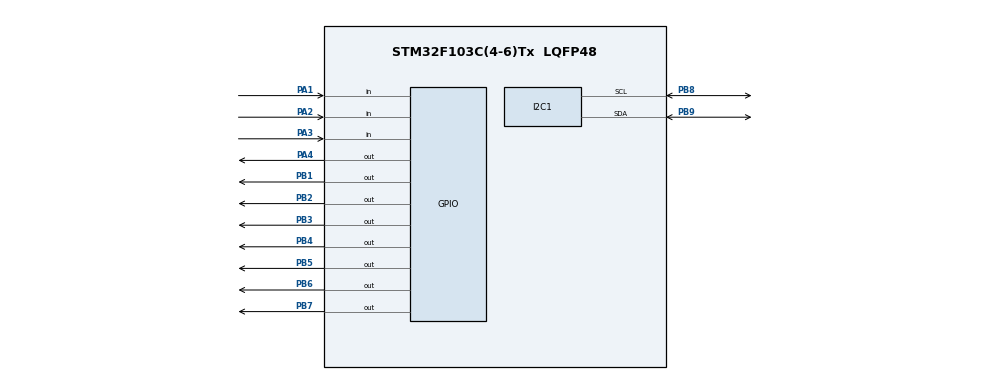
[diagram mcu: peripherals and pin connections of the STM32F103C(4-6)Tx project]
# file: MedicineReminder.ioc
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Mcu.Family=STM32F1
PD1-OSC_OUT.Mode=HSE-External-Oscillator
VP_RTC_VS_RTC_Activate.Mode=RTC_Enabled
PD0-OSC_IN.Signal=RCC_OSC_IN
VP_SYS_VS_ND.Mode=No_Debug
ProjectManager.StackSize=0x400
PD1-OSC_OUT.Signal=RCC_OSC_OUT
ProjectManager.TargetToolchain=STM32CubeIDE
PB9.Mode=I2C
PB6.Signal=GPIO_Output
PA1.Signal=GPIO_Input
PD0-OSC_IN.Mode=HSE-External-Oscillator
PB2.Signal=GPIO_Output
board=custom
RCC.APB2Freq_Value=8000000
PB7.Signal=GPIO_Output
Mcu.Name=STM32F103C(4-6)Tx
PA2.Signal=GPIO_Input
PB3.Signal=GPIO_Output
PA4.Signal=GPIO_Output
Mcu.Package=LQFP48
PB5.Signal=GPIO_Output
PB9.Signal=I2C1_SDA
PB1.Signal=GPIO_Output
VP_RTC_VS_RTC_Calendar.Mode=RTC_Calendar
ProjectManager.HeapSize=0x200
NVIC.PriorityGroup=NVIC_PRIORITYGROUP_4
PB8.Mode=I2C
PB8.Signal=I2C1_SCL
RCC.APB1Freq_Value=8000000
PB4.Signal=GPIO_Output
PA3.Signal=GPIO_Input

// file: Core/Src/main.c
/* USER CODE BEGIN Header */
/**
  ******************************************************************************
  * @file           : main.c
  * @brief          : Main program body
  ******************************************************************************
  * @attention
  *
  * <h2><center>&copy; Copyright (c) 2022 STMicroelectronics.
  * All rights reserved.</center></h2>
  *
  * This software component is licensed by ST under BSD 3-Clause license,
  * the "License"; You may not use this file except in compliance with the
  * License. You may obtain a copy of the License at:
  *                        opensource.org/licenses/BSD-3-Clause
  *
  ******************************************************************************
  */
/* USER CODE END Header */

#include "main.h"
#include "lcd.h"
#include "stm32f1xx_hal.h"

#define ALARM_LED GPIO_PIN_4

#define NEXT GPIO_PIN_3
#define INC GPIO_PIN_2
#define SET_MAD GPIO_PIN_1

#define MAX_REMINDERS 10

I2C_HandleTypeDef hi2c1;

RTC_HandleTypeDef hrtc;

void SystemClock_Config(void);
static void MX_GPIO_Init(void);
static void MX_I2C1_Init(void);
static void MX_RTC_Init(void);

/* USER CODE BEGIN 0 */
typedef struct alarm_time
{
	uint8_t Hour;
	uint8_t Min;
} AlarmTime;

char time[10];
char date[10];

int row = 0;
int col = 0;

AlarmTime currentTime;

//inicijalizacija datuma i vremena
void set_time (void)
{
	  RTC_TimeTypeDef sTime;
	  RTC_DateTypeDef sDate;
    /**Initialize RTC and set the Time and Date
    */
  sTime.Hours = 0x17;
  sTime.Minutes = 0x48;
  sTime.Seconds = 0x00;

  if (HAL_RTC_SetTime(&hrtc, &sTime, RTC_FORMAT_BCD) != HAL_OK)
  {
	  Error_Handler();
  }

  sDate.WeekDay = RTC_WEEKDAY_SUNDAY;
  sDate.Month = RTC_MONTH_FEBRUARY;
  sDate.Date = 0x13;
  sDate.Year = 0x22;

  if (HAL_RTC_SetDate(&hrtc, &sDate, RTC_FORMAT_BCD) != HAL_OK)
  {
	  Error_Handler();
  }

  HAL_RTCEx_BKUPWrite(&hrtc, RTC_BKP_DR1, 0x32F2);  // backup register
}

//funkcija za kreiranje stringova za vreme i datum, koji se prikazuju na lcd-u
void get_time(void)
{
  RTC_DateTypeDef gDate;
  RTC_TimeTypeDef gTime;

  /* Get the RTC current Time */
  HAL_RTC_GetTime(&hrtc, &gTime, RTC_FORMAT_BIN);
  /* Get the RTC current Date */
  HAL_RTC_GetDate(&hrtc, &gDate, RTC_FORMAT_BIN);

  currentTime.Hour = gTime.Hours;
  currentTime.Min = gTime.Minutes;
  /* Display time Format: hh:mm:ss */
  sprintf((char*)time,"%02d:%02d:%02d",gTime.Hours, gTime.Minutes, gTime.Seconds);

  /* Display date Format: mm-dd-yy */
  sprintf((char*)date,"%02d-%02d-%2d",gDate.Date, gDate.Month, 2000 + gDate.Year);
}

//funkcija za prikaz vremena na lcd-u
void display_time (Lcd_HandleTypeDef *lcd)
{
	Lcd_send_command (lcd, 0x80);
	Lcd_string (lcd, "TIME: ");
	Lcd_string (lcd, time);
	Lcd_send_command (lcd, 0xc0);
	Lcd_string (lcd, "DATE: ");
	Lcd_string (lcd, date);
}

//funkcija za treperenje led diode prilikom aktivacije alarma
void beep(void)
{
	HAL_GPIO_WritePin(GPIOA, ALARM_LED, GPIO_PIN_RESET);
	HAL_Delay(200);
	HAL_GPIO_WritePin(GPIOA, ALARM_LED, GPIO_PIN_SET);
	HAL_Delay(100);
	HAL_GPIO_WritePin(GPIOA, ALARM_LED, GPIO_PIN_RESET);
	HAL_Delay(200);
	HAL_GPIO_WritePin(GPIOA, ALARM_LED, GPIO_PIN_SET);
	HAL_Delay(100);
}
/* USER CODE END 0 */

int main(void)
{
  /* USER CODE BEGIN 1 */
	AlarmTime medicineReminders[MAX_REMINDERS];
	int medicineRemindersCount = 0;
	int i;

	char reminderName[30];
	char reminderTime[30];
	AlarmTime tempTime;

	int hourIndicator = 1;
	int minIndicator = -1;
  /* USER CODE END 1 */

  /* MCU Configuration--------------------------------------------------------*/

  /* Reset of all peripherals, Initializes the Flash interface and the Systick. */
  HAL_Init();

  /* Configure the system clock */
  SystemClock_Config();

  /* Initialize all configured peripherals */
  MX_GPIO_Init();
  MX_I2C1_Init();
  MX_RTC_Init();
  /* USER CODE BEGIN 2 */
  Lcd_PortType ports[] = {
  	  GPIOB, GPIOB, GPIOB, GPIOB
  };

  Lcd_PinType pins[] = {
  	  GPIO_PIN_4, GPIO_PIN_5, GPIO_PIN_6, GPIO_PIN_7
  };

  Lcd_HandleTypeDef lcd = Lcd_create(ports, pins, GPIOB, GPIO_PIN_1, GPIOB, GPIO_PIN_3, LCD_4_BIT_MODE);

  if(HAL_RTCEx_BKUPRead(&hrtc, RTC_BKP_DR1) != 0x32F2)
  {
	//inicijalizacija vremena i datuma
	set_time();
  }

  HAL_GPIO_WritePin(GPIOA, ALARM_LED, GPIO_PIN_SET);

  /* USER CODE END 2 */

  /* Infinite loop */
  /* USER CODE BEGIN WHILE */
  while (1)
  {
	  /* USER CODE BEGIN 3 */
	  //ucitaj trenutno vreme i datum
	  get_time();
	  //prikazi trenutno vreme i datum
	  display_time(&lcd);

	  //provera da li postoji neki alarm u ovo vreme
	  for(i=0; i<medicineRemindersCount; i++){
		  if(medicineReminders[i].Hour == currentTime.Hour
			&& medicineReminders[i].Min == currentTime.Min){
			  Lcd_clear(&lcd);

			  Lcd_send_command(&lcd, 0x80);
			  sprintf((char*)reminderName,"TAKE MEDICINE %02d", i + 1);
			  Lcd_string(&lcd, reminderName);

			  Lcd_send_command(&lcd, 0xc0);
			  sprintf((char*)reminderTime,"ALARM TIME: %02d:%02d", medicineReminders[i].Hour,
					  medicineReminders[i].Min);
			  Lcd_string(&lcd, reminderTime);

			  beep();
			  beep();
			  beep();
		  }
	  }
	  HAL_Delay(300);

	  //provera da li je pritisnuto dugme za podesavanje alarma
	  if(HAL_GPIO_ReadPin(GPIOA, SET_MAD) == 0){
		  while(HAL_GPIO_ReadPin(GPIOA, SET_MAD) == 0);

		  tempTime.Hour = 0x00;
		  tempTime.Min = 0x00;
		  i = 0;

		  Lcd_clear(&lcd);
		  int ind = 0;
		  //dok god ne pritisnemo opet dugme da potvrdimo unete alarme ili dok nije dostignut max broj alarma
		  //podesavamo alarme
		  while(HAL_GPIO_ReadPin(GPIOA, SET_MAD) != 0 && i < MAX_REMINDERS-1) {
			  ind = 1;
			  Lcd_send_command(&lcd, 0x80);
			  sprintf((char*)reminderName,"REMINDER %02d", i + 1);
			  Lcd_string(&lcd, reminderName);

			  Lcd_send_command(&lcd, 0xc0);
			  sprintf((char*)reminderTime,"%02d:%02d", tempTime.Hour, tempTime.Min);
			  Lcd_string(&lcd, reminderTime);

			  //uvecanje sata ili minuta za +1
			  if(HAL_GPIO_ReadPin(GPIOA, INC) == 0){
				  while(HAL_GPIO_ReadPin(GPIOA, INC) == 0);
				  if(hourIndicator == 1){
					  tempTime.Hour++;
					  if(tempTime.Hour == 0x18){
						  tempTime.Hour = 0x00;
					  }
				  }
				  else {
					  tempTime.Min++;
					  if(tempTime.Min == 0x3C){
						  tempTime.Min = 0x00;
					  }
				  }
			  }

			  //prelazak na minute ili na sledeci alarm
			  if(HAL_GPIO_ReadPin(GPIOA, NEXT) == 0){
				  while(HAL_GPIO_ReadPin(GPIOA, NEXT) == 0);
				  hourIndicator = -1 * hourIndicator;
				  minIndicator = -1 * minIndicator;

				  if(hourIndicator == 1){
					 medicineReminders[i].Hour = tempTime.Hour;
					 medicineReminders[i].Min = tempTime.Min;

					 tempTime.Hour = 0x00;
					 tempTime.Min = 0x00;

					 ++i;
				  }
			  }
		  }

		  if(ind && i < MAX_REMINDERS-1){
			  medicineReminders[i].Hour = tempTime.Hour;
			  medicineReminders[i].Min = tempTime.Min;
			  ++i;
		  }

		  //kada zavrsimo sa unosom, broj unetih cuvamo
		  medicineRemindersCount = i;
		  Lcd_clear(&lcd);
	  }

    /* USER CODE END 3 */
  }
}
    /* USER CODE END WHILE */

void SystemClock_Config(void)
{
  RCC_OscInitTypeDef RCC_OscInitStruct = {0};
  RCC_ClkInitTypeDef RCC_ClkInitStruct = {0};
  RCC_PeriphCLKInitTypeDef PeriphClkInit = {0};

  /** Initializes the CPU, AHB and APB busses clocks
  */
  RCC_OscInitStruct.OscillatorType = RCC_OSCILLATORTYPE_HSI|RCC_OSCILLATORTYPE_LSI;
  RCC_OscInitStruct.HSIState = RCC_HSI_ON;
  RCC_OscInitStruct.HSICalibrationValue = RCC_HSICALIBRATION_DEFAULT;
  RCC_OscInitStruct.LSIState = RCC_LSI_ON;
  RCC_OscInitStruct.PLL.PLLState = RCC_PLL_NONE;
  if (HAL_RCC_OscConfig(&RCC_OscInitStruct) != HAL_OK)
  {
    Error_Handler();
  }
  /** Initializes the CPU, AHB and APB busses clocks
  */
  RCC_ClkInitStruct.ClockType = RCC_CLOCKTYPE_HCLK|RCC_CLOCKTYPE_SYSCLK
                              |RCC_CLOCKTYPE_PCLK1|RCC_CLOCKTYPE_PCLK2;
  RCC_ClkInitStruct.SYSCLKSource = RCC_SYSCLKSOURCE_HSI;
  RCC_ClkInitStruct.AHBCLKDivider = RCC_SYSCLK_DIV1;
  RCC_ClkInitStruct.APB1CLKDivider = RCC_HCLK_DIV1;
  RCC_ClkInitStruct.APB2CLKDivider = RCC_HCLK_DIV1;

  if (HAL_RCC_ClockConfig(&RCC_ClkInitStruct, FLASH_LATENCY_0) != HAL_OK)
  {
    Error_Handler();
  }
  PeriphClkInit.PeriphClockSelection = RCC_PERIPHCLK_RTC;
  PeriphClkInit.RTCClockSelection = RCC_RTCCLKSOURCE_LSI;
  if (HAL_RCCEx_PeriphCLKConfig(&PeriphClkInit) != HAL_OK)
  {
    Error_Handler();
  }
}

static void MX_I2C1_Init(void)
{

  hi2c1.Instance = I2C1;
  hi2c1.Init.ClockSpeed = 100000;
  hi2c1.Init.DutyCycle = I2C_DUTYCYCLE_2;
  hi2c1.Init.OwnAddress1 = 0;
  hi2c1.Init.AddressingMode = I2C_ADDRESSINGMODE_7BIT;
  hi2c1.Init.DualAddressMode = I2C_DUALADDRESS_DISABLE;
  hi2c1.Init.OwnAddress2 = 0;
  hi2c1.Init.GeneralCallMode = I2C_GENERALCALL_DISABLE;
  hi2c1.Init.NoStretchMode = I2C_NOSTRETCH_DISABLE;
  if (HAL_I2C_Init(&hi2c1) != HAL_OK)
  {
    Error_Handler();
  }

}

static void MX_RTC_Init(void)
{

  RTC_TimeTypeDef sTime = {0};
  RTC_DateTypeDef DateToUpdate = {0};

  /** Initialize RTC Only
  */
  hrtc.Instance = RTC;
  hrtc.Init.AsynchPrediv = RTC_AUTO_1_SECOND;
  hrtc.Init.OutPut = RTC_OUTPUTSOURCE_ALARM;
  if (HAL_RTC_Init(&hrtc) != HAL_OK)
  {
    Error_Handler();
  }

  /** Initialize RTC and set the Time and Date
  */
  sTime.Hours = 0x0;
  sTime.Minutes = 0x0;
  sTime.Seconds = 0x0;

  if (HAL_RTC_SetTime(&hrtc, &sTime, RTC_FORMAT_BCD) != HAL_OK)
  {
    Error_Handler();
  }
  DateToUpdate.WeekDay = RTC_WEEKDAY_MONDAY;
  DateToUpdate.Month = RTC_MONTH_JANUARY;
  DateToUpdate.Date = 0x1;
  DateToUpdate.Year = 0x0;

  if (HAL_RTC_SetDate(&hrtc, &DateToUpdate, RTC_FORMAT_BCD) != HAL_OK)
  {
    Error_Handler();
  }

}

static void MX_GPIO_Init(void)
{
  GPIO_InitTypeDef GPIO_InitStruct = {0};

  /* GPIO Ports Clock Enable */
  __HAL_RCC_GPIOD_CLK_ENABLE();
  __HAL_RCC_GPIOA_CLK_ENABLE();
  __HAL_RCC_GPIOB_CLK_ENABLE();

  /*Configure GPIO pin Output Level */
  HAL_GPIO_WritePin(GPIOA, GPIO_PIN_4, GPIO_PIN_RESET);

  /*Configure GPIO pin Output Level */
  HAL_GPIO_WritePin(GPIOB, GPIO_PIN_1|GPIO_PIN_2|GPIO_PIN_3|GPIO_PIN_4
                          |GPIO_PIN_5|GPIO_PIN_6|GPIO_PIN_7, GPIO_PIN_RESET);

  /*Configure GPIO pins : PA1 PA2 PA3 */
  GPIO_InitStruct.Pin = GPIO_PIN_1|GPIO_PIN_2|GPIO_PIN_3;
  GPIO_InitStruct.Mode = GPIO_MODE_INPUT;
  GPIO_InitStruct.Pull = GPIO_NOPULL;
  HAL_GPIO_Init(GPIOA, &GPIO_InitStruct);

  /*Configure GPIO pin : PA4 */
  GPIO_InitStruct.Pin = GPIO_PIN_4;
  GPIO_InitStruct.Mode = GPIO_MODE_OUTPUT_PP;
  GPIO_InitStruct.Pull = GPIO_NOPULL;
  GPIO_InitStruct.Speed = GPIO_SPEED_FREQ_LOW;
  HAL_GPIO_Init(GPIOA, &GPIO_InitStruct);

  /*Configure GPIO pins : PB1 PB2 PB3 PB4
                           PB5 PB6 PB7 */
  GPIO_InitStruct.Pin = GPIO_PIN_1|GPIO_PIN_2|GPIO_PIN_3|GPIO_PIN_4
                          |GPIO_PIN_5|GPIO_PIN_6|GPIO_PIN_7;
  GPIO_InitStruct.Mode = GPIO_MODE_OUTPUT_PP;
  GPIO_InitStruct.Pull = GPIO_NOPULL;
  GPIO_InitStruct.Speed = GPIO_SPEED_FREQ_LOW;
  HAL_GPIO_Init(GPIOB, &GPIO_InitStruct);

}

void Error_Handler(void)
{
}

/************************ (C) COPYRIGHT STMicroelectronics *****END OF FILE****/
